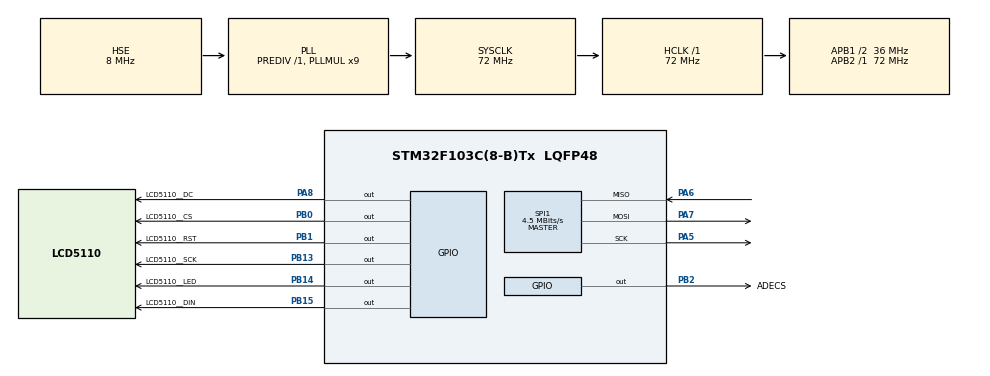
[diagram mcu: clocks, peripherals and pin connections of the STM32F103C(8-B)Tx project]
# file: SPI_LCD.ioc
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Mcu.Family=STM32F1
Mcu.Name=STM32F103C(8-B)Tx
Mcu.Package=LQFP48
NVIC.PriorityGroup=NVIC_PRIORITYGROUP_4
PA13.Mode=Serial_Wire
PA13.Signal=SYS_JTMS-SWDIO
PA14.Mode=Serial_Wire
PA14.Signal=SYS_JTCK-SWCLK
PA5.Mode=Full_Duplex_Master
PA5.Signal=SPI1_SCK
PA6.Mode=Full_Duplex_Master
PA6.Signal=SPI1_MISO
PA7.Mode=Full_Duplex_Master
PA7.Signal=SPI1_MOSI
PA8.GPIO_Label=LCD5110__DC
PA8.Signal=GPIO_Output
PB0.GPIO_Label=LCD5110__CS
PB0.Signal=GPIO_Output
PB1.GPIO_Label=LCD5110__RST
PB1.Signal=GPIO_Output
PB13.GPIO_Label=LCD5110__SCK
PB13.Signal=GPIO_Output
PB14.GPIO_Label=LCD5110__LED
PB14.Signal=GPIO_Output
PB15.GPIO_Label=LCD5110__DIN
PB15.Signal=GPIO_Output
PB2.GPIO_Label=ADECS
PB2.Signal=GPIO_Output
PD0-OSC_IN.Mode=HSE-External-Oscillator
PD0-OSC_IN.Signal=RCC_OSC_IN
PD1-OSC_OUT.Mode=HSE-External-Oscillator
PD1-OSC_OUT.Signal=RCC_OSC_OUT
ProjectManager.HeapSize=0x200
ProjectManager.StackSize=0x400
ProjectManager.TargetToolchain=MDK-ARM V5
RCC.AHBFreq_Value=72000000
RCC.APB1CLKDivider=RCC_HCLK_DIV2
RCC.APB1Freq_Value=36000000
RCC.APB1TimFreq_Value=72000000
RCC.APB2Freq_Value=72000000
RCC.APB2TimFreq_Value=72000000
RCC.HCLKFreq_Value=72000000
RCC.PLLMUL=RCC_PLL_MUL9
RCC.PLLSourceVirtual=RCC_PLLSOURCE_HSE
RCC.SYSCLKFreq_VALUE=72000000
RCC.SYSCLKSource=RCC_SYSCLKSOURCE_PLLCLK
RCC.USBFreq_Value=72000000
SPI1.BaudRatePrescaler=SPI_BAUDRATEPRESCALER_16
SPI1.CalculateBaudRate=4.5 MBits/s
SPI1.Direction=SPI_DIRECTION_2LINES
SPI1.Mode=SPI_MODE_MASTER
SPI1.VirtualType=VM_MASTER
board=custom

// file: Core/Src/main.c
/* USER CODE BEGIN Header */
/**
  ******************************************************************************
  * @file           : main.c
  * @brief          : Main program body
  ******************************************************************************
  * @attention
  *
  * Copyright (c) 2022 STMicroelectronics.
  * All rights reserved.
  *
  * This software is licensed under terms that can be found in the LICENSE file
  * in the root directory of this software component.
  * If no LICENSE file comes with this software, it is provided AS-IS.
  *
  ******************************************************************************
  */
/* USER CODE END Header */
#include "main.h"

/* USER CODE BEGIN Includes */
#include "5110.h"
#include "ADE7758.h"
#include "stdio.h"
/* USER CODE END Includes */

/* USER CODE BEGIN PD */
#define DIV 2

#define WATT_CAL 20.1
#define VAR_CAL 20.2
#define VA_CAL 20.3

#define VRMS_CAL 20.5
#define IRMS_CAL 20.6

#define FREQ_CAL 16.00
/* USER CODE END PD */

SPI_HandleTypeDef hspi1;
float Watt_a,Watt_b,Watt_c;
float Var_a,Var_b,Var_c;
float VA_a,VA_b,VA_c;
float voltage_a,voltage_b,voltage_c;
float current_a,current_b,current_c;
float Frequency;
char urms_buffer[16], irms_buffer[16];

void SystemClock_Config(void);
static void MX_GPIO_Init(void);
static void MX_SPI1_Init(void);

int main(void)
{

  /* MCU Configuration--------------------------------------------------------*/

  /* Reset of all peripherals, Initializes the Flash interface and the Systick. */
  HAL_Init();

  /* Configure the system clock */
  SystemClock_Config();

  /* Initialize all configured peripherals */
  MX_GPIO_Init();
  MX_SPI1_Init();
  /* USER CODE BEGIN 2 */
	ADE7758_Init(&hspi1,ADECS_GPIO_Port,ADECS_Pin);
	setLcycMode(0);
	gainSetup(INTEGRATOR_OFF,FULLSCALESELECT_0_25V,GAIN_1,GAIN_1);
	setupDivs(DIV,DIV,DIV);
	resetStatus();
	LCD5110_init();
	LCD5110_clear();
	LCD5110_set_XY(0,0);
	LCD5110_write_string("Final Project",0);
  /* USER CODE END 2 */

  /* Infinite loop */
  while (1)
  {

    /* USER CODE BEGIN 3 */
		voltage_a = avrms();
		current_a = airms();
		sprintf(urms_buffer,"UA: %.2f V",voltage_a);
		sprintf(irms_buffer,"IA: %.2f A",current_a);
		LCD5110_set_XY(0,0);
		LCD5110_write_string(urms_buffer,0);
		LCD5110_write_string(irms_buffer,0);
  }
  /* USER CODE END 3 */
}

void SystemClock_Config(void)
{
  RCC_OscInitTypeDef RCC_OscInitStruct = {0};
  RCC_ClkInitTypeDef RCC_ClkInitStruct = {0};

  /** Initializes the RCC Oscillators according to the specified parameters
  * in the RCC_OscInitTypeDef structure.
  */
  RCC_OscInitStruct.OscillatorType = RCC_OSCILLATORTYPE_HSE;
  RCC_OscInitStruct.HSEState = RCC_HSE_ON;
  RCC_OscInitStruct.HSEPredivValue = RCC_HSE_PREDIV_DIV1;
  RCC_OscInitStruct.HSIState = RCC_HSI_ON;
  RCC_OscInitStruct.PLL.PLLState = RCC_PLL_ON;
  RCC_OscInitStruct.PLL.PLLSource = RCC_PLLSOURCE_HSE;
  RCC_OscInitStruct.PLL.PLLMUL = RCC_PLL_MUL9;
  if (HAL_RCC_OscConfig(&RCC_OscInitStruct) != HAL_OK)
  {
    Error_Handler();
  }

  /** Initializes the CPU, AHB and APB buses clocks
  */
  RCC_ClkInitStruct.ClockType = RCC_CLOCKTYPE_HCLK|RCC_CLOCKTYPE_SYSCLK
                              |RCC_CLOCKTYPE_PCLK1|RCC_CLOCKTYPE_PCLK2;
  RCC_ClkInitStruct.SYSCLKSource = RCC_SYSCLKSOURCE_PLLCLK;
  RCC_ClkInitStruct.AHBCLKDivider = RCC_SYSCLK_DIV1;
  RCC_ClkInitStruct.APB1CLKDivider = RCC_HCLK_DIV2;
  RCC_ClkInitStruct.APB2CLKDivider = RCC_HCLK_DIV1;

  if (HAL_RCC_ClockConfig(&RCC_ClkInitStruct, FLASH_LATENCY_2) != HAL_OK)
  {
    Error_Handler();
  }
}

static void MX_SPI1_Init(void)
{

  /* SPI1 parameter configuration*/
  hspi1.Instance = SPI1;
  hspi1.Init.Mode = SPI_MODE_MASTER;
  hspi1.Init.Direction = SPI_DIRECTION_2LINES;
  hspi1.Init.DataSize = SPI_DATASIZE_8BIT;
  hspi1.Init.CLKPolarity = SPI_POLARITY_LOW;
  hspi1.Init.CLKPhase = SPI_PHASE_1EDGE;
  hspi1.Init.NSS = SPI_NSS_SOFT;
  hspi1.Init.BaudRatePrescaler = SPI_BAUDRATEPRESCALER_16;
  hspi1.Init.FirstBit = SPI_FIRSTBIT_MSB;
  hspi1.Init.TIMode = SPI_TIMODE_DISABLE;
  hspi1.Init.CRCCalculation = SPI_CRCCALCULATION_DISABLE;
  hspi1.Init.CRCPolynomial = 10;
  if (HAL_SPI_Init(&hspi1) != HAL_OK)
  {
    Error_Handler();
  }

}

static void MX_GPIO_Init(void)
{
  GPIO_InitTypeDef GPIO_InitStruct = {0};

  /* GPIO Ports Clock Enable */
  __HAL_RCC_GPIOD_CLK_ENABLE();
  __HAL_RCC_GPIOA_CLK_ENABLE();
  __HAL_RCC_GPIOB_CLK_ENABLE();

  /*Configure GPIO pin Output Level */
  HAL_GPIO_WritePin(GPIOB, GPIO_PIN_0|GPIO_PIN_1|GPIO_PIN_2|GPIO_PIN_13
                          |GPIO_PIN_14|GPIO_PIN_15, GPIO_PIN_RESET);

  /*Configure GPIO pin Output Level */
  HAL_GPIO_WritePin(GPIOA, GPIO_PIN_8, GPIO_PIN_RESET);

  /*Configure GPIO pins : PB0 PB1 PB2 PB13
                           PB14 PB15 */
  GPIO_InitStruct.Pin = GPIO_PIN_0|GPIO_PIN_1|GPIO_PIN_2|GPIO_PIN_13
                          |GPIO_PIN_14|GPIO_PIN_15;
  GPIO_InitStruct.Mode = GPIO_MODE_OUTPUT_PP;
  GPIO_InitStruct.Pull = GPIO_NOPULL;
  GPIO_InitStruct.Speed = GPIO_SPEED_FREQ_LOW;
  HAL_GPIO_Init(GPIOB, &GPIO_InitStruct);

  /*Configure GPIO pin : PA8 */
  GPIO_InitStruct.Pin = GPIO_PIN_8;
  GPIO_InitStruct.Mode = GPIO_MODE_OUTPUT_PP;
  GPIO_InitStruct.Pull = GPIO_NOPULL;
  GPIO_InitStruct.Speed = GPIO_SPEED_FREQ_LOW;
  HAL_GPIO_Init(GPIOA, &GPIO_InitStruct);

}

void Error_Handler(void)
{
  __disable_irq();
  while (1)
  {
  }
}
